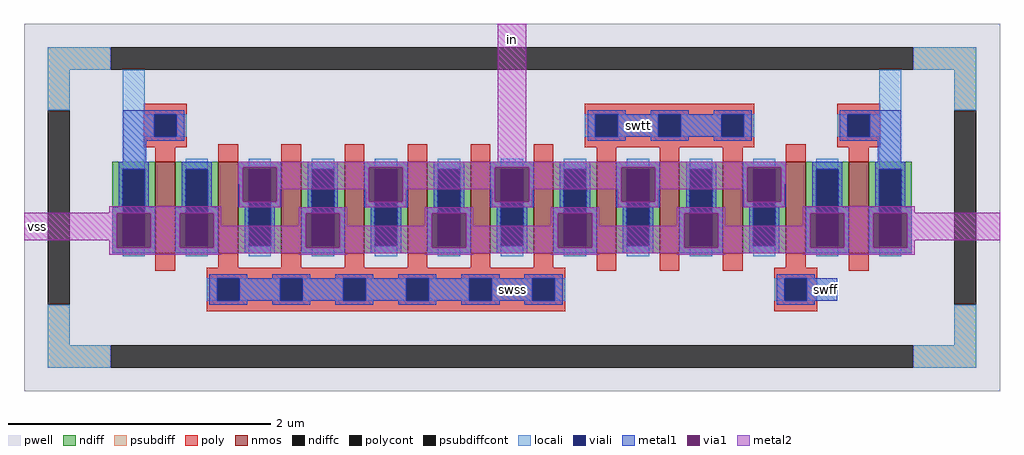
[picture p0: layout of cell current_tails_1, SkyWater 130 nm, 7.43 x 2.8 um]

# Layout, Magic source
magic
tech sky130A
magscale 1 2
<< pwell >>
rect -743 -280 743 280
<< nmos >>
rect -543 -70 -513 70
rect -447 -70 -417 70
rect -351 -70 -321 70
rect -255 -70 -225 70
rect -159 -70 -129 70
rect -63 -70 -33 70
rect 33 -70 63 70
rect 129 -70 159 70
rect 225 -70 255 70
rect 321 -70 351 70
rect 417 -70 447 70
rect 513 -70 543 70
<< ndiff >>
rect -609 58 -543 70
rect -609 -58 -593 58
rect -559 -58 -543 58
rect -609 -70 -543 -58
rect -513 58 -447 70
rect -513 -58 -497 58
rect -463 -58 -447 58
rect -513 -70 -447 -58
rect -417 58 -351 70
rect -417 -58 -401 58
rect -367 -58 -351 58
rect -417 -70 -351 -58
rect -321 58 -255 70
rect -321 -58 -305 58
rect -271 -58 -255 58
rect -321 -70 -255 -58
rect -225 58 -159 70
rect -225 -58 -209 58
rect -175 -58 -159 58
rect -225 -70 -159 -58
rect -129 58 -63 70
rect -129 -58 -113 58
rect -79 -58 -63 58
rect -129 -70 -63 -58
rect -33 58 33 70
rect -33 -58 -17 58
rect 17 -58 33 58
rect -33 -70 33 -58
rect 63 58 129 70
rect 63 -58 79 58
rect 113 -58 129 58
rect 63 -70 129 -58
rect 159 58 225 70
rect 159 -58 175 58
rect 209 -58 225 58
rect 159 -70 225 -58
rect 255 58 321 70
rect 255 -58 271 58
rect 305 -58 321 58
rect 255 -70 321 -58
rect 351 58 417 70
rect 351 -58 367 58
rect 401 -58 417 58
rect 351 -70 417 -58
rect 447 58 513 70
rect 447 -58 463 58
rect 497 -58 513 58
rect 447 -70 513 -58
rect 543 58 609 70
rect 543 -58 559 58
rect 593 -58 609 58
rect 543 -70 609 -58
<< ndiffc >>
rect -593 -58 -559 58
rect -497 -58 -463 58
rect -401 -58 -367 58
rect -305 -58 -271 58
rect -209 -58 -175 58
rect -113 -58 -79 58
rect -17 -58 17 58
rect 79 -58 113 58
rect 175 -58 209 58
rect 271 -58 305 58
rect 367 -58 401 58
rect 463 -58 497 58
rect 559 -58 593 58
<< psubdiff >>
rect -707 210 -611 244
rect 611 210 707 244
rect -707 148 -673 210
rect 673 148 707 210
rect -707 -210 -673 -148
rect 673 -210 707 -148
rect -707 -244 -611 -210
rect 611 -244 707 -210
<< psubdiffcont >>
rect -611 210 611 244
rect -707 -148 -673 148
rect 673 -148 707 148
rect -611 -244 611 -210
<< poly >>
rect -561 142 -495 158
rect -561 108 -545 142
rect -511 108 -495 142
rect -561 92 -495 108
rect 111 142 369 158
rect 111 108 127 142
rect 161 108 223 142
rect 257 108 319 142
rect 353 108 369 142
rect -543 70 -513 92
rect -447 70 -417 96
rect -351 70 -321 96
rect -255 70 -225 96
rect -159 70 -129 96
rect -63 70 -33 96
rect 33 70 63 96
rect 111 92 369 108
rect 495 142 561 158
rect 495 108 511 142
rect 545 108 561 142
rect 129 70 159 92
rect 225 70 255 92
rect 321 70 351 92
rect 417 70 447 96
rect 495 92 561 108
rect 513 70 543 92
rect -543 -96 -513 -70
rect -447 -92 -417 -70
rect -351 -92 -321 -70
rect -255 -92 -225 -70
rect -159 -92 -129 -70
rect -63 -92 -33 -70
rect 33 -92 63 -70
rect -465 -108 81 -92
rect 129 -96 159 -70
rect 225 -96 255 -70
rect 321 -96 351 -70
rect 417 -92 447 -70
rect -465 -142 -449 -108
rect -415 -142 -353 -108
rect -319 -142 -257 -108
rect -223 -142 -161 -108
rect -127 -142 -65 -108
rect -31 -142 31 -108
rect 65 -142 81 -108
rect -465 -158 81 -142
rect 399 -108 465 -92
rect 513 -96 543 -70
rect 399 -142 415 -108
rect 449 -142 465 -108
rect 399 -158 465 -142
<< polycont >>
rect -545 108 -511 142
rect 127 108 161 142
rect 223 108 257 142
rect 319 108 353 142
rect 511 108 545 142
rect -449 -142 -415 -108
rect -353 -142 -319 -108
rect -257 -142 -223 -108
rect -161 -142 -127 -108
rect -65 -142 -31 -108
rect 31 -142 65 -108
rect 415 -142 449 -108
<< locali >>
rect -707 210 -611 244
rect 611 210 707 244
rect -707 148 -673 210
rect -593 142 -559 210
rect 559 142 593 210
rect -593 108 -545 142
rect -511 108 -495 142
rect 111 108 127 142
rect 161 108 223 142
rect 257 108 319 142
rect 353 108 369 142
rect 495 108 511 142
rect 545 108 593 142
rect -593 58 -559 108
rect -593 -74 -559 -58
rect -497 58 -463 74
rect -497 -74 -463 -58
rect -401 58 -367 74
rect -401 -74 -367 -58
rect -305 58 -271 74
rect -305 -74 -271 -58
rect -209 58 -175 74
rect -209 -74 -175 -58
rect -113 58 -79 74
rect -113 -74 -79 -58
rect -17 58 17 74
rect -17 -74 17 -58
rect 79 58 113 74
rect 79 -74 113 -58
rect 175 58 209 74
rect 175 -74 209 -58
rect 271 58 305 74
rect 271 -74 305 -58
rect 367 58 401 74
rect 367 -74 401 -58
rect 463 58 497 74
rect 463 -74 497 -58
rect 559 58 593 108
rect 559 -74 593 -58
rect 673 148 707 210
rect -465 -142 -449 -108
rect -415 -142 -353 -108
rect -319 -142 -257 -108
rect -223 -142 -161 -108
rect -127 -142 -65 -108
rect -31 -142 31 -108
rect 65 -142 81 -108
rect 399 -142 415 -108
rect 449 -142 465 -108
rect -707 -210 -673 -148
rect 673 -210 707 -148
rect -707 -244 -611 -210
rect 611 -244 707 -210
<< viali >>
rect -545 108 -511 142
rect 127 108 161 142
rect 223 108 257 142
rect 319 108 353 142
rect 511 108 545 142
rect -593 -58 -559 58
rect -497 -58 -463 58
rect -401 -58 -367 58
rect -305 -58 -271 58
rect -209 -58 -175 58
rect -113 -58 -79 58
rect -17 -58 17 58
rect 79 -58 113 58
rect 175 -58 209 58
rect 271 -58 305 58
rect 367 -58 401 58
rect 463 -58 497 58
rect 559 -58 593 58
rect -449 -142 -415 -108
rect -353 -142 -319 -108
rect -257 -142 -223 -108
rect -161 -142 -127 -108
rect -65 -142 -31 -108
rect 31 -142 65 -108
rect 415 -142 449 -108
<< metal1 >>
rect -593 142 -499 148
rect -593 108 -545 142
rect -511 108 -499 142
rect -593 102 -499 108
rect 115 142 173 148
rect 211 142 269 148
rect 307 142 365 148
rect 115 108 127 142
rect 161 108 223 142
rect 257 108 319 142
rect 353 108 365 142
rect 115 102 173 108
rect 211 102 269 108
rect 307 102 365 108
rect 499 142 593 148
rect 499 108 511 142
rect 545 108 593 142
rect 499 102 593 108
rect -593 70 -557 102
rect 557 70 593 102
rect -599 58 -553 70
rect -599 0 -593 58
rect -609 -9 -593 0
rect -559 0 -553 58
rect -503 58 -457 70
rect -503 0 -497 58
rect -559 -9 -543 0
rect -609 -61 -602 -9
rect -550 -61 -543 -9
rect -609 -70 -543 -61
rect -513 -9 -497 0
rect -463 0 -457 58
rect -417 61 -351 70
rect -417 9 -410 61
rect -358 9 -351 61
rect -417 0 -401 9
rect -463 -9 -447 0
rect -513 -61 -506 -9
rect -454 -61 -447 -9
rect -513 -70 -447 -61
rect -407 -58 -401 0
rect -367 0 -351 9
rect -311 58 -265 70
rect -311 0 -305 58
rect -367 -58 -361 0
rect -407 -70 -361 -58
rect -321 -9 -305 0
rect -271 0 -265 58
rect -225 61 -159 70
rect -225 9 -218 61
rect -166 9 -159 61
rect -225 0 -209 9
rect -271 -9 -255 0
rect -321 -61 -314 -9
rect -262 -61 -255 -9
rect -321 -70 -255 -61
rect -215 -58 -209 0
rect -175 0 -159 9
rect -119 58 -73 70
rect -119 0 -113 58
rect -175 -58 -169 0
rect -215 -70 -169 -58
rect -129 -9 -113 0
rect -79 0 -73 58
rect -33 61 33 70
rect -33 9 -26 61
rect 26 9 33 61
rect -33 0 -17 9
rect -79 -9 -63 0
rect -129 -61 -122 -9
rect -70 -61 -63 -9
rect -129 -70 -63 -61
rect -23 -58 -17 0
rect 17 0 33 9
rect 73 58 119 70
rect 73 0 79 58
rect 17 -58 23 0
rect -23 -70 23 -58
rect 63 -9 79 0
rect 113 0 119 58
rect 159 61 225 70
rect 159 9 166 61
rect 218 9 225 61
rect 159 0 175 9
rect 113 -9 129 0
rect 63 -61 70 -9
rect 122 -61 129 -9
rect 63 -70 129 -61
rect 169 -58 175 0
rect 209 0 225 9
rect 265 58 311 70
rect 265 0 271 58
rect 209 -58 215 0
rect 169 -70 215 -58
rect 255 -9 271 0
rect 305 0 311 58
rect 351 61 417 70
rect 351 9 358 61
rect 410 9 417 61
rect 351 0 367 9
rect 305 -9 321 0
rect 255 -61 262 -9
rect 314 -61 321 -9
rect 255 -70 321 -61
rect 361 -58 367 0
rect 401 0 417 9
rect 457 58 503 70
rect 457 0 463 58
rect 401 -58 407 0
rect 361 -70 407 -58
rect 447 -9 463 0
rect 497 0 503 58
rect 553 58 599 70
rect 553 0 559 58
rect 497 -9 513 0
rect 447 -61 454 -9
rect 506 -61 513 -9
rect 447 -70 513 -61
rect 543 -9 559 0
rect 593 0 599 58
rect 593 -9 609 0
rect 543 -61 550 -9
rect 602 -61 609 -9
rect 543 -70 609 -61
rect -461 -108 -403 -102
rect -365 -108 -307 -102
rect -269 -108 -211 -102
rect -173 -108 -115 -102
rect -77 -108 -19 -102
rect 19 -108 77 -102
rect -461 -142 -449 -108
rect -415 -142 -353 -108
rect -319 -142 -257 -108
rect -223 -142 -161 -108
rect -127 -142 -65 -108
rect -31 -142 31 -108
rect 65 -142 77 -108
rect -461 -148 -403 -142
rect -365 -148 -307 -142
rect -269 -148 -211 -142
rect -173 -148 -115 -142
rect -77 -148 -19 -142
rect 19 -148 77 -142
rect 403 -108 461 -102
rect 403 -142 415 -108
rect 449 -142 495 -108
rect 403 -148 461 -142
<< via1 >>
rect -602 -58 -593 -9
rect -593 -58 -559 -9
rect -559 -58 -550 -9
rect -602 -61 -550 -58
rect -410 58 -358 61
rect -410 9 -401 58
rect -401 9 -367 58
rect -367 9 -358 58
rect -506 -58 -497 -9
rect -497 -58 -463 -9
rect -463 -58 -454 -9
rect -506 -61 -454 -58
rect -218 58 -166 61
rect -218 9 -209 58
rect -209 9 -175 58
rect -175 9 -166 58
rect -314 -58 -305 -9
rect -305 -58 -271 -9
rect -271 -58 -262 -9
rect -314 -61 -262 -58
rect -26 58 26 61
rect -26 9 -17 58
rect -17 9 17 58
rect 17 9 26 58
rect -122 -58 -113 -9
rect -113 -58 -79 -9
rect -79 -58 -70 -9
rect -122 -61 -70 -58
rect 166 58 218 61
rect 166 9 175 58
rect 175 9 209 58
rect 209 9 218 58
rect 70 -58 79 -9
rect 79 -58 113 -9
rect 113 -58 122 -9
rect 70 -61 122 -58
rect 358 58 410 61
rect 358 9 367 58
rect 367 9 401 58
rect 401 9 410 58
rect 262 -58 271 -9
rect 271 -58 305 -9
rect 305 -58 314 -9
rect 262 -61 314 -58
rect 454 -58 463 -9
rect 463 -58 497 -9
rect 497 -58 506 -9
rect 454 -61 506 -58
rect 550 -58 559 -9
rect 559 -58 593 -9
rect 593 -58 602 -9
rect 550 -61 602 -58
<< metal2 >>
rect -22 70 22 280
rect -417 61 417 70
rect -417 36 -410 61
rect -415 9 -410 36
rect -358 28 -218 61
rect -358 9 -353 28
rect -613 -8 -443 2
rect -415 0 -353 9
rect -223 9 -218 28
rect -166 28 -26 61
rect -166 9 -161 28
rect -223 0 -161 9
rect -31 9 -26 28
rect 26 28 166 61
rect 26 9 31 28
rect -31 0 31 9
rect 161 9 166 28
rect 218 28 358 61
rect 218 9 223 28
rect 161 0 223 9
rect 353 9 358 28
rect 410 36 417 61
rect 410 9 415 36
rect 353 0 415 9
rect -743 -9 -443 -8
rect -743 -50 -602 -9
rect -613 -61 -602 -50
rect -550 -61 -506 -9
rect -454 -28 -443 -9
rect -325 -9 -251 0
rect -325 -28 -314 -9
rect -454 -61 -314 -28
rect -262 -28 -251 -9
rect -133 -9 -59 0
rect -133 -28 -122 -9
rect -262 -61 -122 -28
rect -70 -28 -59 -9
rect 59 -9 133 0
rect 59 -28 70 -9
rect -70 -61 70 -28
rect 122 -28 133 -9
rect 251 -9 325 0
rect 251 -28 262 -9
rect 122 -61 262 -28
rect 314 -28 325 -9
rect 443 -8 613 2
rect 443 -9 743 -8
rect 443 -28 454 -9
rect 314 -61 454 -28
rect 506 -61 550 -9
rect 602 -50 743 -9
rect 602 -61 613 -50
rect -613 -70 613 -61
rect -613 -72 -443 -70
rect -325 -72 -251 -70
rect -133 -72 -59 -70
rect 59 -72 133 -70
rect 251 -72 325 -70
rect 443 -72 613 -70
<< labels >>
rlabel metal2 -22 234 22 278 7 in
port 1 n
rlabel metal2 -743 -50 -701 -8 1 vss
port 2 n
rlabel metal1 -17 -142 17 -108 0 swss
port 3 n
rlabel metal1 175 108 209 142 0 swtt
port 4 n
rlabel metal1 461 -142 495 -108 0 swff
port 5 n
<< properties >>
string FIXED_BBOX -690 -227 690 227
string gencell sky130_fd_pr__nfet_01v8
string library sky130
string parameters w 0.7 l 0.150 m 1 nf 12 diffcov 100 polycov 100 guard 1 glc 1 grc 1 gtc 1 gbc 1 tbcov 100 rlcov 100 topc 1 botc 1 poverlap 0 doverlap 1 lmin 0.15 wmin 0.42 compatible {sky130_fd_pr__nfet_01v8 sky130_fd_pr__nfet_01v8_lvt  sky130_fd_bs_flash__special_sonosfet_star  sky130_fd_pr__nfet_g5v0d10v5 sky130_fd_pr__nfet_05v0_nvt  sky130_fd_pr__nfet_03v3_nvt} full_metal 1 viasrc 100 viadrn 100 viagate 100 viagb 0 viagr 0 viagl 0 viagt 0
<< end >>
